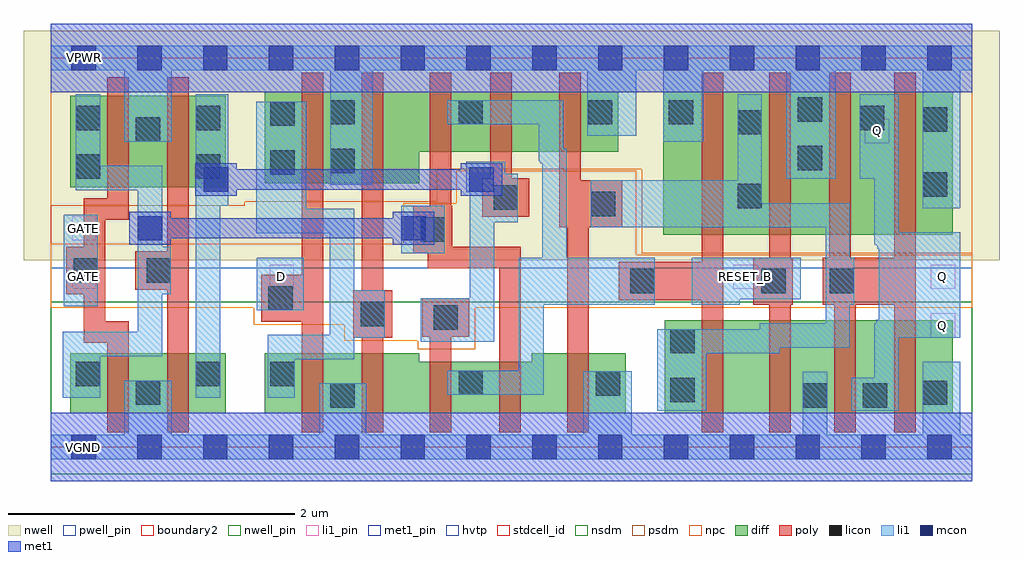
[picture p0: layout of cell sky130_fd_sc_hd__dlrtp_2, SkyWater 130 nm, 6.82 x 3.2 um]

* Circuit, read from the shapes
.subckt sky130_fd_sc_hd__dlrtp_2 D GATE Q RESET_B VGND VNB VPB VPWR
XM1 VGND GATE n1 VNB sky130_fd_pr__nfet_01v8 w=0.42 l=0.15
XM2 n2 n1 VGND VNB sky130_fd_pr__nfet_01v8 w=0.42 l=0.15
XM3 VGND D n3 VNB sky130_fd_pr__nfet_01v8 w=0.42 l=0.15
XM4 n4 n3 VGND VNB sky130_fd_pr__nfet_01v8 w=0.42 l=0.15
XM5 n5 n2 n4 VNB sky130_fd_pr__nfet_01v8 w=0.36 l=0.15
XM6 n6 n1 n5 VNB sky130_fd_pr__nfet_01v8 w=0.36 l=0.15
XM7 VGND n7 n6 VNB sky130_fd_pr__nfet_01v8 w=0.42 l=0.15
XM8 n8 n5 n7 VNB sky130_fd_pr__nfet_01v8 w=0.65 l=0.15
XM9 VGND RESET_B n8 VNB sky130_fd_pr__nfet_01v8 w=0.65 l=0.15
XM10 Q n7 VGND VNB sky130_fd_pr__nfet_01v8 w=0.65 l=0.15 m=2
XM11 VPWR GATE n1 VPB sky130_fd_pr__pfet_01v8_hvt w=0.64 l=0.15
XM12 n2 n1 VPWR VPB sky130_fd_pr__pfet_01v8_hvt w=0.64 l=0.15
XM13 VPWR D n3 VPB sky130_fd_pr__pfet_01v8_hvt w=0.64 l=0.15
XM14 n9 n3 VPWR VPB sky130_fd_pr__pfet_01v8_hvt w=0.64 l=0.15
XM15 n5 n1 n9 VPB sky130_fd_pr__pfet_01v8_hvt w=0.42 l=0.15
XM16 n10 n2 n5 VPB sky130_fd_pr__pfet_01v8_hvt w=0.42 l=0.15
XM17 VPWR n7 n10 VPB sky130_fd_pr__pfet_01v8_hvt w=0.42 l=0.15
XM18 n7 n5 VPWR VPB sky130_fd_pr__pfet_01v8_hvt w=1 l=0.15
XM19 VPWR RESET_B n7 VPB sky130_fd_pr__pfet_01v8_hvt w=1 l=0.15
XM20 Q n7 VPWR VPB sky130_fd_pr__pfet_01v8_hvt w=1 l=0.15 m=2
.ends

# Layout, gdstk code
import gdstk
lib = gdstk.Library(unit=1e-6, precision=1e-09)
def R(c, l, rs):  # rectangles x0, y0, x1, y1
    for r in rs: c.add(gdstk.rectangle(r[:2], r[2:], *l))
def A(c, l, x, y, w, h, nx, ny, dx, dy):  # array of equal rectangles
    R(c, l, [(x+i*dx, y+j*dy, x+i*dx+w, y+j*dy+h) for i in range(nx) for j in range(ny)])
def P(c, l, *ps):  # polygons
    for p in ps: c.add(gdstk.Polygon(p, *l))
nwell_pin = (64, 16)
nwell = (64, 20)
diff = (65, 20)
poly = (66, 20)
licon = (66, 44)
li1_pin = (67, 16)
li1 = (67, 20)
mcon = (67, 44)
met1_pin = (68, 16)
met1 = (68, 20)
hvtp = (78, 44)
stdcell_id = (81, 4)
nsdm = (93, 44)
psdm = (94, 20)
npc = (95, 20)
pwell_pin = (122, 16)
boundary2 = (236, 0)

sky130_fd_sc_hd__dlrtp_2 = lib.new_cell('sky130_fd_sc_hd__dlrtp_2')
R(sky130_fd_sc_hd__dlrtp_2, nwell_pin, [(0.15,2.635,0.32,2.805), (0.15,2.635,0.32,2.805)])
R(sky130_fd_sc_hd__dlrtp_2, nwell, [(-0.19,1.305,6.63,2.91)])
R(sky130_fd_sc_hd__dlrtp_2, diff, [(0.135,0.235,1.225,0.655), (4.29,0.235,6.305,0.885), (4.28,1.485,6.305,2.485), (0.135,1.815,1.225,2.455)])
P(sky130_fd_sc_hd__dlrtp_2, diff, [(4.02,0.655),(3.36,0.655),(3.36,0.595),(2.575,0.595),(2.575,0.655),(1.495,0.655),(1.495,0.235),(4.02,0.235)],
  [(3.965,2.485),(1.495,2.485),(1.495,1.845),(2.575,1.845),(2.575,2.065),(3.965,2.065)])
P(sky130_fd_sc_hd__dlrtp_2, poly, [(2.385,1.095),(2.325,1.095),(2.325,2.615),(2.175,2.615),(2.175,1.095),(2.115,1.095),(2.115,0.765),(2.175,0.765),(2.175,0.105),(2.325,0.105),(2.325,0.765),(2.385,0.765)],
  [(2.925,1.04),(2.595,1.04),(2.595,0.77),(2.65,0.77),(2.65,0.105),(2.8,0.105),(2.8,0.77),(2.925,0.77)],
  [(6.045,2.615),(5.895,2.615),(5.895,1.325),(5.59,1.325),(5.59,2.615),(5.44,2.615),(5.44,1.325),(5.395,1.325),(5.395,0.995),(5.475,0.995),(5.475,0.105),(5.625,0.105),(5.625,0.995),(5.895,0.995),(5.895,0.105),(6.045,0.105)],
  [(3.995,1.865),(3.705,1.865),(3.705,2.615),(3.555,2.615),(3.555,1.535),(3.61,1.535),(3.61,0.105),(3.76,0.105),(3.76,1.535),(3.995,1.535)],
  [(3.345,1.88),(3.22,1.88),(3.22,2.615),(3.07,2.615),(3.07,1.88),(3.015,1.88),(3.015,1.61),(3.345,1.61)],
  [(0.545,0.88),(0.38,0.88),(0.38,1.59),(0.545,1.59),(0.545,2.585),(0.395,2.585),(0.395,1.74),(0.23,1.74),(0.23,1.4),(0.11,1.4),(0.11,1.07),(0.23,1.07),(0.23,0.73),(0.395,0.73),(0.395,0.105),(0.545,0.105)],
  [(0.965,2.585),(0.815,2.585),(0.815,1.37),(0.59,1.37),(0.59,1.1),(0.815,1.1),(0.815,0.105),(0.965,0.105)],
  [(1.905,2.615),(1.755,2.615),(1.755,1.205),(1.47,1.205),(1.47,0.875),(1.755,0.875),(1.755,0.105),(1.905,0.105)],
  [(4.7,2.615),(4.55,2.615),(4.55,1.295),(3.97,1.295),(3.97,1.025),(4.55,1.025),(4.55,0.105),(4.7,0.105)],
  [(5.185,1.325),(5.17,1.325),(5.17,2.615),(5.02,2.615),(5.02,1.325),(4.91,1.325),(4.91,0.995),(5.02,0.995),(5.02,0.105),(5.17,0.105),(5.17,0.995),(5.185,0.995)],
  [(3.285,1.4),(2.805,1.4),(2.805,1.685),(2.8,1.685),(2.8,2.615),(2.65,2.615),(2.65,1.685),(2.535,1.685),(2.535,1.355),(2.635,1.355),(2.635,1.25),(3.135,1.25),(3.135,0.105),(3.285,0.105)])
R(sky130_fd_sc_hd__dlrtp_2, licon, [(1.955,0.275,2.125,0.445), (5.255,0.275,5.425,0.445), (5.675,0.275,5.845,0.445), (0.595,0.295,0.765,0.465), (6.095,0.295,6.265,0.465), (4.33,0.315,4.5,0.485), (3.81,0.36,3.98,0.53), (2.85,0.365,3.02,0.535), (0.175,0.425,0.345,0.595), (1.015,0.425,1.185,0.595), (1.535,0.425,1.705,0.595), (4.33,0.655,4.5,0.825), (2.675,0.82,2.845,0.99), (2.165,0.845,2.335,1.015), (1.52,0.955,1.69,1.125), (4.05,1.075,4.22,1.245), (4.965,1.075,5.135,1.245), (5.445,1.075,5.615,1.245), (0.16,1.15,0.33,1.32), (0.67,1.15,0.84,1.32), (2.585,1.435,2.755,1.605), (3.775,1.615,3.945,1.785), (3.095,1.66,3.265,1.83), (4.8,1.67,4.97,1.84), (6.095,1.75,6.265,1.92), (0.175,1.875,0.345,2.045), (1.015,1.875,1.185,2.045), (1.535,1.905,1.705,2.075), (1.955,1.915,2.125,2.085), (5.22,1.935,5.39,2.105), (0.595,2.135,0.765,2.305), (4.8,2.185,4.97,2.355), (6.095,2.205,6.265,2.375), (0.175,2.215,0.345,2.385), (1.015,2.215,1.185,2.385), (5.655,2.215,5.825,2.385), (1.535,2.245,1.705,2.415), (1.955,2.255,2.125,2.425), (2.85,2.255,3.02,2.425), (3.755,2.255,3.925,2.425), (4.32,2.255,4.49,2.425), (5.22,2.275,5.39,2.445)])
R(sky130_fd_sc_hd__dlrtp_2, li1_pin, [(6.15,0.765,6.32,0.935), (0.15,1.105,0.32,1.275), (1.53,1.105,1.7,1.275), (4.77,1.105,4.94,1.275), (6.15,1.105,6.32,1.275), (0.15,1.445,0.32,1.615), (5.69,2.125,5.86,2.295)])
R(sky130_fd_sc_hd__dlrtp_2, li1, [(1.44,0.955,1.77,1.325), (0.09,0.985,0.33,1.625), (2.45,1.355,2.755,1.685)])
P(sky130_fd_sc_hd__dlrtp_2, li1, [(1.24,2.465),(1.015,2.465),(1.015,0.345),(1.185,0.345),(1.185,1.685),(1.24,1.685)],
  [(5.24,1.325),(4.48,1.325),(4.48,0.995),(4.815,0.995),(4.815,1.035),(5.24,1.035)],
  [(0.84,1.4),(0.78,1.4),(0.78,1.965),(0.345,1.965),(0.345,2.465),(0.175,2.465),(0.175,1.795),(0.61,1.795),(0.61,0.805),(0.085,0.805),(0.085,0.345),(0.345,0.345),(0.345,0.635),(0.78,0.635),(0.78,1.07),(0.84,1.07)],
  [(6.355,1.5),(5.925,1.5),(5.925,2.465),(5.655,2.465),(5.655,1.875),(5.755,1.875),(5.755,1.425),(5.76,1.425),(5.76,1.415),(5.765,1.415),(5.765,1.41),(5.775,1.41),(5.775,1.385),(5.785,1.385),(5.785,0.89),(5.77,0.89),(5.77,0.865),(5.755,0.865),(5.755,0.485),(5.595,0.485),(5.595,0.255),(5.925,0.255),(5.925,0.765),(6.355,0.765)],
  [(3.265,1.91),(3.175,1.91),(3.175,1.995),(2.905,1.995),(2.905,1.78),(2.93,1.78),(2.93,1.04),(2.585,1.04),(2.585,0.735),(3.1,0.735),(3.1,1.57),(3.265,1.57)],
  [(2.335,1.095),(2.12,1.095),(2.12,1.665),(1.785,1.665),(1.785,2.415),(1.435,2.415),(1.435,1.495),(1.95,1.495),(1.95,0.785),(1.515,0.785),(1.515,0.345),(1.705,0.345),(1.705,0.615),(2.12,0.615),(2.12,0.765),(2.335,0.765)],
  [(4.22,1.325),(3.605,1.325),(3.605,2.085),(3.58,2.085),(3.58,2.425),(2.77,2.425),(2.77,2.255),(3.41,2.255),(3.41,2),(3.415,2),(3.415,1.995),(3.42,1.995),(3.42,1.985),(3.435,1.985),(3.435,1.325),(3.27,1.325),(3.27,0.535),(2.77,0.535),(2.77,0.365),(3.445,0.365),(3.445,0.995),(4.22,0.995)],
  [(5.615,1.325),(5.585,1.325),(5.585,1.705),(4.97,1.705),(4.97,2.465),(4.8,2.465),(4.8,1.865),(3.775,1.865),(3.775,1.535),(5.415,1.535),(5.415,0.865),(4.955,0.865),(4.955,0.825),(4.24,0.825),(4.24,0.255),(4.58,0.255),(4.58,0.655),(5.095,0.655),(5.095,0.695),(5.585,0.695),(5.585,0.995),(5.615,0.995)],
  [(6.44,2.805),(0,2.805),(0,2.635),(0.515,2.635),(0.515,2.135),(0.845,2.135),(0.845,2.635),(1.955,2.635),(1.955,1.835),(2.25,1.835),(2.25,2.635),(3.75,2.635),(3.75,2.175),(4.09,2.175),(4.09,2.635),(4.28,2.635),(4.28,2.135),(4.56,2.135),(4.56,2.635),(5.14,2.635),(5.14,1.875),(5.485,1.875),(5.485,2.635),(6.095,2.635),(6.095,1.67),(6.355,1.67),(6.355,2.635),(6.44,2.635)],
  [(6.44,0.085),(6.355,0.085),(6.355,0.595),(6.095,0.595),(6.095,0.085),(5.425,0.085),(5.425,0.525),(5.255,0.525),(5.255,0.085),(4.06,0.085),(4.06,0.53),(3.72,0.53),(3.72,0.085),(2.205,0.085),(2.205,0.445),(1.875,0.445),(1.875,0.085),(0.845,0.085),(0.845,0.465),(0.515,0.465),(0.515,0.085),(0,0.085),(0,-0.085),(6.44,-0.085)])
A(sky130_fd_sc_hd__dlrtp_2, mcon, 0.145, -0.085, 0.17, 0.17, 14, 2, 0.46, 2.72)
R(sky130_fd_sc_hd__dlrtp_2, mcon, [(0.61,1.445,0.78,1.615), (2.45,1.445,2.62,1.615), (1.07,1.785,1.24,1.955), (2.925,1.785,3.095,1.955)])
R(sky130_fd_sc_hd__dlrtp_2, met1_pin, [(0.15,-0.085,0.32,0.085), (0.15,2.635,0.32,2.805), (0.15,2.635,0.32,2.805)])
R(sky130_fd_sc_hd__dlrtp_2, met1, [(0,-0.24,6.44,0.24), (0,2.48,6.44,2.96)])
P(sky130_fd_sc_hd__dlrtp_2, met1, [(2.68,1.645),(2.39,1.645),(2.39,1.6),(0.84,1.6),(0.84,1.645),(0.55,1.645),(0.55,1.415),(0.84,1.415),(0.84,1.46),(2.39,1.46),(2.39,1.415),(2.68,1.415)],
  [(3.155,1.985),(2.865,1.985),(2.865,1.94),(1.3,1.94),(1.3,1.985),(1.01,1.985),(1.01,1.755),(1.3,1.755),(1.3,1.8),(2.865,1.8),(2.865,1.755),(3.155,1.755)])
R(sky130_fd_sc_hd__dlrtp_2, hvtp, [(0,1.25,6.44,2.72)])
R(sky130_fd_sc_hd__dlrtp_2, stdcell_id, [(0,0,6.44,2.72)])
R(sky130_fd_sc_hd__dlrtp_2, nsdm, [(0,-0.19,6.44,1.015)])
P(sky130_fd_sc_hd__dlrtp_2, psdm, [(6.44,2.91),(0,2.91),(0,1.685),(1.355,1.685),(1.355,1.715),(2.7,1.715),(2.7,1.94),(4.13,1.94),(4.13,1.355),(6.44,1.355)])
P(sky130_fd_sc_hd__dlrtp_2, npc, [(6.44,1.345),(4.09,1.345),(4.09,1.93),(2.835,1.93),(2.835,1.705),(2.465,1.705),(2.465,1.42),(0,1.42),(0,0.975),(1.42,0.975),(1.42,0.855),(2.05,0.855),(2.05,0.745),(2.565,0.745),(2.565,0.685),(2.965,0.685),(2.965,0.975),(6.44,0.975)])
R(sky130_fd_sc_hd__dlrtp_2, pwell_pin, [(0.15,-0.085,0.32,0.085)])
R(sky130_fd_sc_hd__dlrtp_2, boundary2, [(0,0,6.44,2.72)])
sky130_fd_sc_hd__dlrtp_2.add(gdstk.Label('RESET_B', (4.855,1.19), layer=67, texttype=5))
sky130_fd_sc_hd__dlrtp_2.add(gdstk.Label('Q', (5.775,2.21), layer=67, texttype=5))
sky130_fd_sc_hd__dlrtp_2.add(gdstk.Label('Q', (6.235,0.85), layer=67, texttype=5))
sky130_fd_sc_hd__dlrtp_2.add(gdstk.Label('Q', (6.235,1.19), layer=67, texttype=5))
sky130_fd_sc_hd__dlrtp_2.add(gdstk.Label('D', (1.615,1.19), layer=67, texttype=5))
sky130_fd_sc_hd__dlrtp_2.add(gdstk.Label('GATE', (0.23,1.19), layer=67, texttype=5))
sky130_fd_sc_hd__dlrtp_2.add(gdstk.Label('GATE', (0.23,1.53), layer=67, texttype=5))
sky130_fd_sc_hd__dlrtp_2.add(gdstk.Label('VGND', (0.23,0), layer=68, texttype=5))
sky130_fd_sc_hd__dlrtp_2.add(gdstk.Label('VPWR', (0.235,2.72), layer=68, texttype=5))
sky130_fd_sc_hd__dlrtp_2.add(gdstk.Label('VPWR', (0.235,2.72), layer=68, texttype=5))
sky130_fd_sc_hd__dlrtp_2.add(gdstk.Label('VPB', (0.235,2.72), layer=64, texttype=5))
sky130_fd_sc_hd__dlrtp_2.add(gdstk.Label('VPB', (0.235,2.72), layer=64, texttype=5))
sky130_fd_sc_hd__dlrtp_2.add(gdstk.Label('VPB', (0.235,2.72), layer=64, texttype=5))
sky130_fd_sc_hd__dlrtp_2.add(gdstk.Label('VNB', (0.235,0), layer=64, texttype=59))
sky130_fd_sc_hd__dlrtp_2.add(gdstk.Label('dlrtp_2', (0,0), layer=83, texttype=44))

lib.write_gds('sky130_fd_sc_hd__dlrtp_2.gds')
